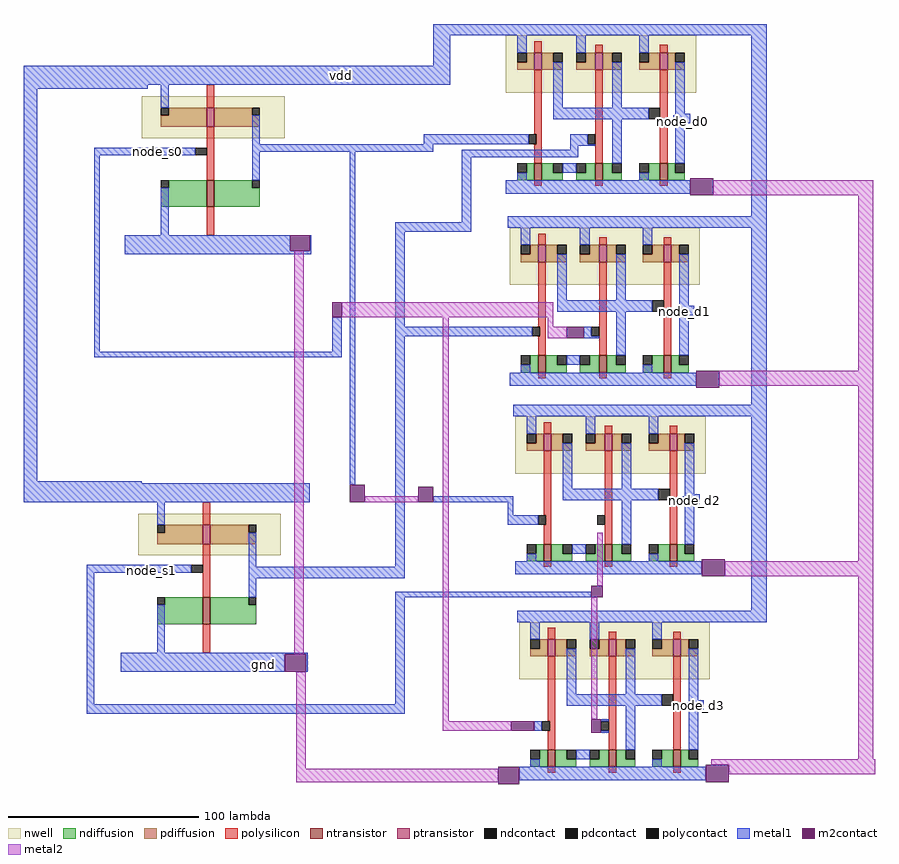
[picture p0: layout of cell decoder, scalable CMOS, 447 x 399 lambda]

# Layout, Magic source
magic
tech scmos
<< nwell >>
rect -4 165 96 195
rect -195 141 -120 163
rect -2 64 98 94
rect 1 -35 101 -5
rect -197 -78 -122 -56
rect 3 -143 103 -113
<< ntransistor >>
rect 11 119 15 128
rect 43 119 47 128
rect 77 119 81 128
rect -161 105 -157 119
rect 13 18 17 27
rect 45 18 49 27
rect 79 18 83 27
rect 16 -81 20 -72
rect 48 -81 52 -72
rect 82 -81 86 -72
rect -163 -114 -159 -100
rect 18 -189 22 -180
rect 50 -189 54 -180
rect 84 -189 88 -180
<< ptransistor >>
rect 11 177 15 186
rect 43 177 47 186
rect 77 177 81 186
rect -161 147 -157 157
rect 13 76 17 85
rect 45 76 49 85
rect 79 76 83 85
rect 16 -23 20 -14
rect 48 -23 52 -14
rect 82 -23 86 -14
rect -163 -72 -159 -62
rect 18 -131 22 -122
rect 50 -131 54 -122
rect 84 -131 88 -122
<< ndiffusion >>
rect 7 123 11 128
rect 2 119 11 123
rect 15 123 21 128
rect 15 119 26 123
rect 38 123 43 128
rect 33 119 43 123
rect 47 123 52 128
rect 47 119 57 123
rect 71 123 77 128
rect 66 119 77 123
rect 81 123 85 128
rect 81 119 90 123
rect -181 115 -161 119
rect -185 105 -161 115
rect -157 115 -137 119
rect -157 105 -133 115
rect 9 22 13 27
rect 4 18 13 22
rect 17 22 23 27
rect 17 18 28 22
rect 40 22 45 27
rect 35 18 45 22
rect 49 22 54 27
rect 49 18 59 22
rect 73 22 79 27
rect 68 18 79 22
rect 83 22 87 27
rect 83 18 92 22
rect 12 -77 16 -72
rect 7 -81 16 -77
rect 20 -77 26 -72
rect 20 -81 31 -77
rect 43 -77 48 -72
rect 38 -81 48 -77
rect 52 -77 57 -72
rect 52 -81 62 -77
rect 76 -77 82 -72
rect 71 -81 82 -77
rect 86 -77 90 -72
rect 86 -81 95 -77
rect -183 -104 -163 -100
rect -187 -114 -163 -104
rect -159 -104 -139 -100
rect -159 -114 -135 -104
rect 14 -185 18 -180
rect 9 -189 18 -185
rect 22 -185 28 -180
rect 22 -189 33 -185
rect 45 -185 50 -180
rect 40 -189 50 -185
rect 54 -185 59 -180
rect 54 -189 64 -185
rect 78 -185 84 -180
rect 73 -189 84 -185
rect 88 -185 92 -180
rect 88 -189 97 -185
<< pdiffusion >>
rect 7 181 11 186
rect 2 177 11 181
rect 15 181 21 186
rect 15 177 26 181
rect 38 181 43 186
rect 33 177 43 181
rect 47 181 52 186
rect 47 177 57 181
rect 71 181 77 186
rect 66 177 77 181
rect 81 181 85 186
rect 81 177 90 181
rect -181 153 -161 157
rect -185 147 -161 153
rect -157 153 -137 157
rect -157 147 -133 153
rect 9 80 13 85
rect 4 76 13 80
rect 17 80 23 85
rect 17 76 28 80
rect 40 80 45 85
rect 35 76 45 80
rect 49 80 54 85
rect 49 76 59 80
rect 73 80 79 85
rect 68 76 79 80
rect 83 80 87 85
rect 83 76 92 80
rect 12 -19 16 -14
rect 7 -23 16 -19
rect 20 -19 26 -14
rect 20 -23 31 -19
rect 43 -19 48 -14
rect 38 -23 48 -19
rect 52 -19 57 -14
rect 52 -23 62 -19
rect 76 -19 82 -14
rect 71 -23 82 -19
rect 86 -19 90 -14
rect 86 -23 95 -19
rect -183 -66 -163 -62
rect -187 -72 -163 -66
rect -159 -66 -139 -62
rect -159 -72 -135 -66
rect 14 -127 18 -122
rect 9 -131 18 -127
rect 22 -127 28 -122
rect 22 -131 33 -127
rect 45 -127 50 -122
rect 40 -131 50 -127
rect 54 -127 59 -122
rect 54 -131 64 -127
rect 78 -127 84 -122
rect 73 -131 84 -127
rect 88 -127 92 -122
rect 88 -131 97 -127
<< ndcontact >>
rect 2 123 7 128
rect 21 123 26 128
rect 33 123 38 128
rect 52 123 57 128
rect 66 123 71 128
rect 85 123 90 128
rect -185 115 -181 119
rect -137 115 -133 119
rect 4 22 9 27
rect 23 22 28 27
rect 35 22 40 27
rect 54 22 59 27
rect 68 22 73 27
rect 87 22 92 27
rect 7 -77 12 -72
rect 26 -77 31 -72
rect 38 -77 43 -72
rect 57 -77 62 -72
rect 71 -77 76 -72
rect 90 -77 95 -72
rect -187 -104 -183 -100
rect -139 -104 -135 -100
rect 9 -185 14 -180
rect 28 -185 33 -180
rect 40 -185 45 -180
rect 59 -185 64 -180
rect 73 -185 78 -180
rect 92 -185 97 -180
<< pdcontact >>
rect 2 181 7 186
rect 21 181 26 186
rect 33 181 38 186
rect 52 181 57 186
rect 66 181 71 186
rect 85 181 90 186
rect -185 153 -181 157
rect -137 153 -133 157
rect 4 80 9 85
rect 23 80 28 85
rect 35 80 40 85
rect 54 80 59 85
rect 68 80 73 85
rect 87 80 92 85
rect 7 -19 12 -14
rect 26 -19 31 -14
rect 38 -19 43 -14
rect 57 -19 62 -14
rect 71 -19 76 -14
rect 90 -19 95 -14
rect -187 -66 -183 -62
rect -139 -66 -135 -62
rect 9 -127 14 -122
rect 28 -127 33 -122
rect 40 -127 45 -122
rect 59 -127 64 -122
rect 73 -127 78 -122
rect 92 -127 97 -122
<< polysilicon >>
rect 11 186 15 192
rect 43 186 47 190
rect 77 186 81 190
rect -161 157 -157 169
rect -161 119 -157 147
rect 11 143 15 177
rect 12 138 15 143
rect 11 128 15 138
rect 43 128 47 177
rect 77 128 81 177
rect 11 116 15 119
rect 43 116 47 119
rect 77 116 81 119
rect -161 90 -157 105
rect 13 85 17 91
rect 45 85 49 89
rect 79 85 83 89
rect 13 42 17 76
rect 14 37 17 42
rect 13 27 17 37
rect 45 27 49 76
rect 79 27 83 76
rect 13 15 17 18
rect 45 15 49 18
rect 79 15 83 18
rect 16 -14 20 -8
rect 48 -14 52 -10
rect 82 -14 86 -10
rect -163 -62 -159 -50
rect 16 -57 20 -23
rect 17 -62 20 -57
rect 16 -72 20 -62
rect 48 -72 52 -23
rect 82 -72 86 -23
rect -163 -100 -159 -72
rect 16 -84 20 -81
rect 48 -84 52 -81
rect 82 -84 86 -81
rect -163 -129 -159 -114
rect 18 -122 22 -116
rect 50 -122 54 -118
rect 84 -122 88 -118
rect 18 -165 22 -131
rect 19 -170 22 -165
rect 18 -180 22 -170
rect 50 -180 54 -131
rect 84 -180 88 -131
rect 18 -192 22 -189
rect 50 -192 54 -189
rect 84 -192 88 -189
<< polycontact >>
rect -167 132 -161 136
rect 8 138 12 143
rect 39 138 43 143
rect 71 151 77 157
rect 10 37 14 42
rect 41 37 45 42
rect 73 50 79 56
rect 13 -62 17 -57
rect 44 -62 48 -57
rect 76 -49 82 -43
rect -169 -87 -163 -83
rect 15 -170 19 -165
rect 46 -170 50 -165
rect 78 -157 84 -151
<< metal1 >>
rect -42 195 133 201
rect -42 179 -33 195
rect 2 186 7 195
rect 33 186 38 195
rect 66 186 71 195
rect -257 169 -33 179
rect -257 167 -192 169
rect -257 -39 -250 167
rect -185 157 -181 169
rect 21 157 26 181
rect 52 157 57 181
rect -137 138 -133 153
rect 21 151 71 157
rect 85 154 90 181
rect 85 153 93 154
rect -47 138 8 143
rect 30 138 39 143
rect -220 132 -167 136
rect -137 134 -42 138
rect 30 137 43 138
rect 30 135 34 137
rect -220 29 -217 132
rect -137 119 -133 134
rect -185 90 -181 115
rect -204 82 -117 90
rect -107 82 -106 90
rect -204 80 -106 82
rect -95 29 -90 47
rect -220 26 -90 29
rect -257 -40 -195 -39
rect -257 -50 -107 -40
rect -86 -41 -83 134
rect -27 131 34 135
rect -27 97 -22 131
rect 52 128 57 151
rect 84 149 93 153
rect 85 128 90 149
rect 26 123 33 128
rect 2 119 7 123
rect 66 119 71 123
rect -4 112 93 119
rect 125 100 133 195
rect -62 92 -22 97
rect -3 94 133 100
rect -62 42 -57 92
rect 4 85 9 94
rect 35 85 40 94
rect 68 85 73 94
rect 23 56 28 80
rect 54 56 59 80
rect 23 50 73 56
rect 87 53 92 80
rect 87 52 95 53
rect -62 37 10 42
rect -187 -62 -183 -50
rect -224 -87 -169 -83
rect -139 -84 -135 -66
rect -62 -84 -57 37
rect 37 37 41 42
rect 37 36 45 37
rect 54 27 59 50
rect 86 48 95 52
rect 87 27 92 48
rect 28 22 35 27
rect 4 18 9 22
rect 68 18 73 22
rect -2 11 96 18
rect 125 1 133 94
rect 0 -5 133 1
rect 7 -14 12 -5
rect 38 -14 43 -5
rect 71 -14 76 -5
rect 26 -43 31 -19
rect 57 -43 62 -19
rect -42 -50 0 -47
rect 26 -49 76 -43
rect 90 -46 95 -19
rect 90 -47 98 -46
rect -3 -57 0 -50
rect -3 -62 13 -57
rect 57 -72 62 -49
rect 89 -51 98 -47
rect 90 -72 95 -51
rect 31 -77 38 -72
rect 7 -81 12 -77
rect 71 -81 76 -77
rect -224 -156 -220 -87
rect -139 -90 -57 -84
rect 1 -88 99 -81
rect -139 -100 -135 -90
rect -62 -100 41 -97
rect -187 -129 -183 -104
rect -206 -130 -108 -129
rect -206 -139 -120 -130
rect -109 -139 -108 -130
rect -62 -156 -57 -100
rect 125 -107 133 -5
rect 2 -113 133 -107
rect 9 -122 14 -113
rect 40 -122 45 -113
rect 73 -122 78 -113
rect -224 -161 -57 -156
rect 28 -151 33 -127
rect 59 -151 64 -127
rect 28 -157 78 -151
rect 92 -154 97 -127
rect 92 -155 100 -154
rect 11 -170 15 -165
rect 46 -165 50 -164
rect 46 -171 50 -170
rect 59 -180 64 -157
rect 91 -159 100 -155
rect 92 -180 97 -159
rect 33 -185 40 -180
rect 9 -189 14 -185
rect 73 -189 78 -185
rect 3 -196 101 -189
<< m2contact >>
rect -117 82 -107 90
rect -95 47 -90 55
rect 93 111 105 120
rect -86 -50 -78 -41
rect 28 36 37 42
rect 96 10 108 19
rect -50 -50 -42 -42
rect 99 -89 111 -80
rect 41 -100 47 -94
rect -120 -139 -109 -130
rect -1 -170 11 -165
rect 41 -171 46 -164
rect -8 -198 3 -189
rect 101 -197 113 -188
<< metal2 >>
rect 105 111 189 119
rect -115 -130 -110 82
rect -90 47 21 55
rect -78 -50 -50 -47
rect -114 -190 -109 -139
rect -37 -165 -34 47
rect 18 42 21 47
rect 18 36 28 42
rect 181 19 189 111
rect 108 11 189 19
rect 44 -94 47 -66
rect 181 -81 189 11
rect 111 -89 189 -81
rect 41 -164 44 -100
rect -37 -170 -1 -165
rect 181 -185 189 -89
rect 104 -188 190 -185
rect -114 -197 -8 -190
rect 113 -193 190 -188
<< labels >>
rlabel metal1 -90 174 -90 174 1 vdd
rlabel metal1 -131 -135 -131 -135 1 gnd
rlabel metal1 -187 134 -187 134 1 node_s0
rlabel metal1 -190 -86 -190 -86 1 node_s1
rlabel metal1 89 150 89 150 1 node_d0
rlabel metal1 90 50 90 50 1 node_d1
rlabel metal1 95 -49 95 -49 1 node_d2
rlabel metal1 97 -157 97 -157 1 node_d3
<< end >>
